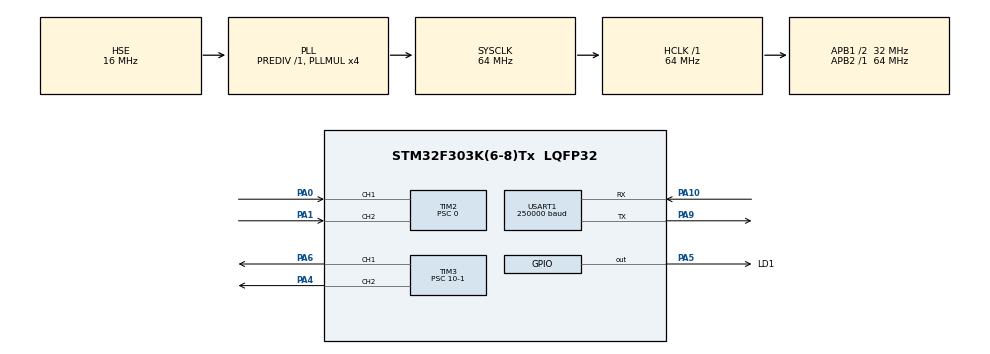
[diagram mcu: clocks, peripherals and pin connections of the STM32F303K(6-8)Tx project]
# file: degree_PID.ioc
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Mcu.Family=STM32F3
Mcu.Name=STM32F303K(6-8)Tx
Mcu.Package=LQFP32
NVIC.PriorityGroup=NVIC_PRIORITYGROUP_4
NVIC.TIM1_BRK_TIM15_IRQn=true\:0\:0\:false\:false\:true\:true\:true\:true
NVIC.TIM1_CC_IRQn=true\:0\:0\:false\:false\:true\:true\:true\:true
NVIC.TIM1_TRG_COM_TIM17_IRQn=true\:0\:0\:false\:false\:true\:true\:true\:true
NVIC.TIM1_UP_TIM16_IRQn=true\:0\:0\:false\:false\:true\:true\:true\:true
PA0.GPIO_PuPd=GPIO_PULLUP
PA0.Signal=S_TIM2_CH1_ETR
PA1.GPIO_PuPd=GPIO_PULLUP
PA1.Signal=S_TIM2_CH2
PA10.Mode=Asynchronous
PA10.Signal=USART1_RX
PA4.Signal=S_TIM3_CH2
PA5.GPIO_Label=LD1
PA5.Signal=GPIO_Output
PA6.Signal=S_TIM3_CH1
PA9.Mode=Asynchronous
PA9.Signal=USART1_TX
PF0\ /\ OSC_IN.Mode=HSE-External-Oscillator
PF0\ /\ OSC_IN.Signal=RCC_OSC_IN
PF1\ /\ OSC_OUT.Mode=HSE-External-Oscillator
PF1\ /\ OSC_OUT.Signal=RCC_OSC_OUT
ProjectManager.HeapSize=0x200
ProjectManager.StackSize=0x400
ProjectManager.TargetToolchain=STM32CubeIDE
RCC.AHBFreq_Value=64000000
RCC.APB1CLKDivider=RCC_HCLK_DIV2
RCC.APB1Freq_Value=32000000
RCC.APB1TimFreq_Value=64000000
RCC.APB2Freq_Value=64000000
RCC.APB2TimFreq_Value=64000000
RCC.CortexFreq_Value=64000000
RCC.HCLKFreq_Value=64000000
RCC.HSE_VALUE=16000000
RCC.HSI_VALUE=8000000
RCC.PLLMUL=RCC_PLL_MUL4
RCC.PLLSourceVirtual=RCC_PLLSOURCE_HSE
RCC.SYSCLKFreq_VALUE=64000000
RCC.SYSCLKSourceVirtual=RCC_SYSCLKSOURCE_PLLCLK
SH.S_TIM2_CH1_ETR.0=TIM2_CH1,Encoder_Interface
SH.S_TIM2_CH2.0=TIM2_CH2,Encoder_Interface
SH.S_TIM3_CH1.0=TIM3_CH1,PWM Generation1 CH1
SH.S_TIM3_CH2.0=TIM3_CH2,PWM Generation2 CH2
TIM1.Period=10-1
TIM1.Prescaler=6400 -1
TIM2.EncoderMode=TIM_ENCODERMODE_TI12
TIM2.IC2Prescaler=TIM_ICPSC_DIV1
TIM2.Period=65535
TIM2.Prescaler=0
TIM3.Channel-PWM\ Generation1\ CH1=TIM_CHANNEL_1
TIM3.Channel-PWM\ Generation2\ CH2=TIM_CHANNEL_2
TIM3.Period=1000-1
TIM3.Prescaler=10-1
USART1.BaudRate=250000
USART1.VirtualMode-Asynchronous=VM_ASYNC
VP_TIM1_VS_ClockSourceINT.Mode=Internal
VP_TIM3_VS_ClockSourceINT.Mode=Internal
board=custom

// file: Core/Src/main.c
/* USER CODE BEGIN Header */
/**
  ******************************************************************************
  * @file           : main.c
  * @brief          : Main program body
  ******************************************************************************
  * @attention
  *
  * Copyright (c) 2024 STMicroelectronics.
  * All rights reserved.
  *
  * This software is licensed under terms that can be found in the LICENSE file
  * in the root directory of this software component.
  * If no LICENSE file comes with this software, it is provided AS-IS.
  *
  ******************************************************************************
  */
/* USER CODE END Header */
#include "main.h"

/* USER CODE BEGIN Includes */
#include "stdio.h"
#include "math.h"
/* USER CODE END Includes */

TIM_HandleTypeDef htim1;
TIM_HandleTypeDef htim2;
TIM_HandleTypeDef htim3;

UART_HandleTypeDef huart1;

void SystemClock_Config(void);
static void MX_GPIO_Init(void);
static void MX_TIM2_Init(void);
static void MX_TIM3_Init(void);
static void MX_USART1_UART_Init(void);
static void MX_TIM1_Init(void);

/* USER CODE BEGIN 0 */
int32_t encoder_count = 0;	//エンコーダーのカウント

int motor_PID = 0;			//PID合計
int motor_pwm = 0;			//モーターのpwm

//PID用各種変数
float kP = 10;
float kI = 0.0015;
float kD = 0.025;

int error_now = 0;			//現在の偏差
int error_old = 0;			//1cycle前の偏差
double error_dt = 0;	  	//1cycleで変化した偏差の傾き
double error_integral = 0;	//偏差の数値積分値

double goal_degree = -90;	//目標角度
double goal_pulse = 0;		//目標角度をエンコーダのパルス数に変換

int sec_count_flag = 0;		//1msec毎に立つ
double cycle = 0.001;		//周期

/* USER CODE END 0 */

int main(void)
{

  /* USER CODE BEGIN 1 */
  setbuf(stdout, NULL);
  /* USER CODE END 1 */

  /* MCU Configuration--------------------------------------------------------*/

  /* Reset of all peripherals, Initializes the Flash interface and the Systick. */
  HAL_Init();

  /* Configure the system clock */
  SystemClock_Config();

  /* Initialize all configured peripherals */
  MX_GPIO_Init();
  MX_TIM2_Init();
  MX_TIM3_Init();
  MX_USART1_UART_Init();
  MX_TIM1_Init();
  /* USER CODE BEGIN 2 */
  HAL_TIM_Encoder_Start(&htim2, TIM_CHANNEL_ALL);
  HAL_TIM_PWM_Start(&htim3, TIM_CHANNEL_1);
  HAL_TIM_PWM_Start(&htim3, TIM_CHANNEL_2);
  HAL_TIM_Base_Start_IT(&htim1);

  TIM2 -> CNT = 5000;	//CNTレジスタを5000(ある程度大きい値)にセット

  goal_pulse = 1.66667 * 4 * goal_degree;	//目標角度を目標パルス数に変換

  /*STM32でエンコーダーモードを使うとエンコーダの1パルスが4パルスごとにカウントされてしまうので
   * 一周を2400パルスの360度として変換している
   * 元の計算式は　(2400 / 360) * goal_degree　となる
   */

  HAL_Delay(500);	//0.5秒待つ
  /* USER CODE END 2 */

  /* Infinite loop */
  while (1)
  {

    /* USER CODE BEGIN 3 */
	  if(sec_count_flag == 1){
		  encoder_count = 5000 - (TIM2 -> CNT);//変動したパルスを計算
		  error_now = (goal_pulse - encoder_count)/4;//パルスからエラーを計算

		  error_dt = (error_now - error_old)/cycle;//数値微分
		  error_integral = error_integral + (error_now + error_old) / 2;//台形積分

		  motor_PID = kP * error_now + kI * error_integral + kD * error_dt;//PIDを計算

		  if(motor_PID >= 0){
			  motor_pwm = constrain(motor_PID, 999, 0);
			  __HAL_TIM_SET_COMPARE(&htim3, TIM_CHANNEL_1, motor_pwm);
			  __HAL_TIM_SET_COMPARE(&htim3, TIM_CHANNEL_2, 0);
		  }//モーター正転
		  else{
			  motor_pwm = -constrain(motor_PID, 0, -999);
			  __HAL_TIM_SET_COMPARE(&htim3, TIM_CHANNEL_1, 0);
			  __HAL_TIM_SET_COMPARE(&htim3, TIM_CHANNEL_2, motor_pwm);
		  }//モーター逆転

		  printf(" PID:%d", motor_pwm);

		  printf(" P:%lf", kP * error_now);

		  printf(" I:%lf", kI * error_integral);

		  printf(" D:%lf", kD * error_dt);

		  printf(" pulse_count:%d", encoder_count);

		  printf(" encorder_now:%d", TIM2 -> CNT);

		  printf(" error:%d \r\n", error_now);

		  error_old = error_now;
		  sec_count_flag = 0;
		  //各変数に代入
	  }

	  /*上記のif文はTIM1が割り込むたびに実行される
	   * 割り込みの周期はTIM1のCounterPeriodとPrescalerを変更する
	   * 参考 : https://sbasami-tech.hatenablog.com/entry/2021/04/20/203322
	   */
  }
  /* USER CODE END 3 */
}

void SystemClock_Config(void)
{
  RCC_OscInitTypeDef RCC_OscInitStruct = {0};
  RCC_ClkInitTypeDef RCC_ClkInitStruct = {0};
  RCC_PeriphCLKInitTypeDef PeriphClkInit = {0};

  /** Initializes the RCC Oscillators according to the specified parameters
  * in the RCC_OscInitTypeDef structure.
  */
  RCC_OscInitStruct.OscillatorType = RCC_OSCILLATORTYPE_HSE;
  RCC_OscInitStruct.HSEState = RCC_HSE_ON;
  RCC_OscInitStruct.HSEPredivValue = RCC_HSE_PREDIV_DIV1;
  RCC_OscInitStruct.HSIState = RCC_HSI_ON;
  RCC_OscInitStruct.PLL.PLLState = RCC_PLL_ON;
  RCC_OscInitStruct.PLL.PLLSource = RCC_PLLSOURCE_HSE;
  RCC_OscInitStruct.PLL.PLLMUL = RCC_PLL_MUL4;
  if (HAL_RCC_OscConfig(&RCC_OscInitStruct) != HAL_OK)
  {
    Error_Handler();
  }

  /** Initializes the CPU, AHB and APB buses clocks
  */
  RCC_ClkInitStruct.ClockType = RCC_CLOCKTYPE_HCLK|RCC_CLOCKTYPE_SYSCLK
                              |RCC_CLOCKTYPE_PCLK1|RCC_CLOCKTYPE_PCLK2;
  RCC_ClkInitStruct.SYSCLKSource = RCC_SYSCLKSOURCE_PLLCLK;
  RCC_ClkInitStruct.AHBCLKDivider = RCC_SYSCLK_DIV1;
  RCC_ClkInitStruct.APB1CLKDivider = RCC_HCLK_DIV2;
  RCC_ClkInitStruct.APB2CLKDivider = RCC_HCLK_DIV1;

  if (HAL_RCC_ClockConfig(&RCC_ClkInitStruct, FLASH_LATENCY_2) != HAL_OK)
  {
    Error_Handler();
  }
  PeriphClkInit.PeriphClockSelection = RCC_PERIPHCLK_USART1|RCC_PERIPHCLK_TIM1;
  PeriphClkInit.Usart1ClockSelection = RCC_USART1CLKSOURCE_PCLK1;
  PeriphClkInit.Tim1ClockSelection = RCC_TIM1CLK_HCLK;
  if (HAL_RCCEx_PeriphCLKConfig(&PeriphClkInit) != HAL_OK)
  {
    Error_Handler();
  }
}

static void MX_TIM1_Init(void)
{

  TIM_ClockConfigTypeDef sClockSourceConfig = {0};
  TIM_MasterConfigTypeDef sMasterConfig = {0};

  htim1.Instance = TIM1;
  htim1.Init.Prescaler = 6400 -1;
  htim1.Init.CounterMode = TIM_COUNTERMODE_UP;
  htim1.Init.Period = 10-1;
  htim1.Init.ClockDivision = TIM_CLOCKDIVISION_DIV1;
  htim1.Init.RepetitionCounter = 0;
  htim1.Init.AutoReloadPreload = TIM_AUTORELOAD_PRELOAD_DISABLE;
  if (HAL_TIM_Base_Init(&htim1) != HAL_OK)
  {
    Error_Handler();
  }
  sClockSourceConfig.ClockSource = TIM_CLOCKSOURCE_INTERNAL;
  if (HAL_TIM_ConfigClockSource(&htim1, &sClockSourceConfig) != HAL_OK)
  {
    Error_Handler();
  }
  sMasterConfig.MasterOutputTrigger = TIM_TRGO_RESET;
  sMasterConfig.MasterOutputTrigger2 = TIM_TRGO2_RESET;
  sMasterConfig.MasterSlaveMode = TIM_MASTERSLAVEMODE_DISABLE;
  if (HAL_TIMEx_MasterConfigSynchronization(&htim1, &sMasterConfig) != HAL_OK)
  {
    Error_Handler();
  }

}

static void MX_TIM2_Init(void)
{

  TIM_Encoder_InitTypeDef sConfig = {0};
  TIM_MasterConfigTypeDef sMasterConfig = {0};

  htim2.Instance = TIM2;
  htim2.Init.Prescaler = 0;
  htim2.Init.CounterMode = TIM_COUNTERMODE_UP;
  htim2.Init.Period = 65535;
  htim2.Init.ClockDivision = TIM_CLOCKDIVISION_DIV1;
  htim2.Init.AutoReloadPreload = TIM_AUTORELOAD_PRELOAD_DISABLE;
  sConfig.EncoderMode = TIM_ENCODERMODE_TI12;
  sConfig.IC1Polarity = TIM_ICPOLARITY_RISING;
  sConfig.IC1Selection = TIM_ICSELECTION_DIRECTTI;
  sConfig.IC1Prescaler = TIM_ICPSC_DIV1;
  sConfig.IC1Filter = 0;
  sConfig.IC2Polarity = TIM_ICPOLARITY_RISING;
  sConfig.IC2Selection = TIM_ICSELECTION_DIRECTTI;
  sConfig.IC2Prescaler = TIM_ICPSC_DIV1;
  sConfig.IC2Filter = 0;
  if (HAL_TIM_Encoder_Init(&htim2, &sConfig) != HAL_OK)
  {
    Error_Handler();
  }
  sMasterConfig.MasterOutputTrigger = TIM_TRGO_RESET;
  sMasterConfig.MasterSlaveMode = TIM_MASTERSLAVEMODE_DISABLE;
  if (HAL_TIMEx_MasterConfigSynchronization(&htim2, &sMasterConfig) != HAL_OK)
  {
    Error_Handler();
  }

}

static void MX_TIM3_Init(void)
{

  TIM_ClockConfigTypeDef sClockSourceConfig = {0};
  TIM_MasterConfigTypeDef sMasterConfig = {0};
  TIM_OC_InitTypeDef sConfigOC = {0};

  htim3.Instance = TIM3;
  htim3.Init.Prescaler = 10-1;
  htim3.Init.CounterMode = TIM_COUNTERMODE_UP;
  htim3.Init.Period = 1000-1;
  htim3.Init.ClockDivision = TIM_CLOCKDIVISION_DIV1;
  htim3.Init.AutoReloadPreload = TIM_AUTORELOAD_PRELOAD_DISABLE;
  if (HAL_TIM_Base_Init(&htim3) != HAL_OK)
  {
    Error_Handler();
  }
  sClockSourceConfig.ClockSource = TIM_CLOCKSOURCE_INTERNAL;
  if (HAL_TIM_ConfigClockSource(&htim3, &sClockSourceConfig) != HAL_OK)
  {
    Error_Handler();
  }
  if (HAL_TIM_PWM_Init(&htim3) != HAL_OK)
  {
    Error_Handler();
  }
  sMasterConfig.MasterOutputTrigger = TIM_TRGO_RESET;
  sMasterConfig.MasterSlaveMode = TIM_MASTERSLAVEMODE_DISABLE;
  if (HAL_TIMEx_MasterConfigSynchronization(&htim3, &sMasterConfig) != HAL_OK)
  {
    Error_Handler();
  }
  sConfigOC.OCMode = TIM_OCMODE_PWM1;
  sConfigOC.Pulse = 0;
  sConfigOC.OCPolarity = TIM_OCPOLARITY_HIGH;
  sConfigOC.OCFastMode = TIM_OCFAST_DISABLE;
  if (HAL_TIM_PWM_ConfigChannel(&htim3, &sConfigOC, TIM_CHANNEL_1) != HAL_OK)
  {
    Error_Handler();
  }
  if (HAL_TIM_PWM_ConfigChannel(&htim3, &sConfigOC, TIM_CHANNEL_2) != HAL_OK)
  {
    Error_Handler();
  }
  HAL_TIM_MspPostInit(&htim3);

}

static void MX_USART1_UART_Init(void)
{

  huart1.Instance = USART1;
  huart1.Init.BaudRate = 250000;
  huart1.Init.WordLength = UART_WORDLENGTH_8B;
  huart1.Init.StopBits = UART_STOPBITS_1;
  huart1.Init.Parity = UART_PARITY_NONE;
  huart1.Init.Mode = UART_MODE_TX_RX;
  huart1.Init.HwFlowCtl = UART_HWCONTROL_NONE;
  huart1.Init.OverSampling = UART_OVERSAMPLING_16;
  huart1.Init.OneBitSampling = UART_ONE_BIT_SAMPLE_DISABLE;
  huart1.AdvancedInit.AdvFeatureInit = UART_ADVFEATURE_NO_INIT;
  if (HAL_UART_Init(&huart1) != HAL_OK)
  {
    Error_Handler();
  }

}

static void MX_GPIO_Init(void)
{
  GPIO_InitTypeDef GPIO_InitStruct = {0};

  /* GPIO Ports Clock Enable */
  __HAL_RCC_GPIOF_CLK_ENABLE();
  __HAL_RCC_GPIOA_CLK_ENABLE();

  /*Configure GPIO pin Output Level */
  HAL_GPIO_WritePin(LD1_GPIO_Port, LD1_Pin, GPIO_PIN_RESET);

  /*Configure GPIO pin : LD1_Pin */
  GPIO_InitStruct.Pin = LD1_Pin;
  GPIO_InitStruct.Mode = GPIO_MODE_OUTPUT_PP;
  GPIO_InitStruct.Pull = GPIO_NOPULL;
  GPIO_InitStruct.Speed = GPIO_SPEED_FREQ_LOW;
  HAL_GPIO_Init(LD1_GPIO_Port, &GPIO_InitStruct);

}

/* USER CODE BEGIN 4 */
int _write(int file, char *ptr, int len)
{
  HAL_UART_Transmit(&huart1,(uint8_t *)ptr,len,10);
  return len;
}//PrintfをUART出力として使う

int constrain(int num, int max, int mini){
	if(num > max){
		return max;
	}
	else if(num < mini){
		return mini;
	}

	return num;
}//数値の制限

void HAL_TIM_PeriodElapsedCallback(TIM_HandleTypeDef *htim)
{
    if (htim == &htim1){
    	sec_count_flag = 1;
    	HAL_GPIO_TogglePin(LD1_GPIO_Port, LD1_Pin);
    }
}//TIM1割り込みハンドラ

/* USER CODE END 4 */

void Error_Handler(void)
{
  __disable_irq();
  while (1)
  {
  }
}
